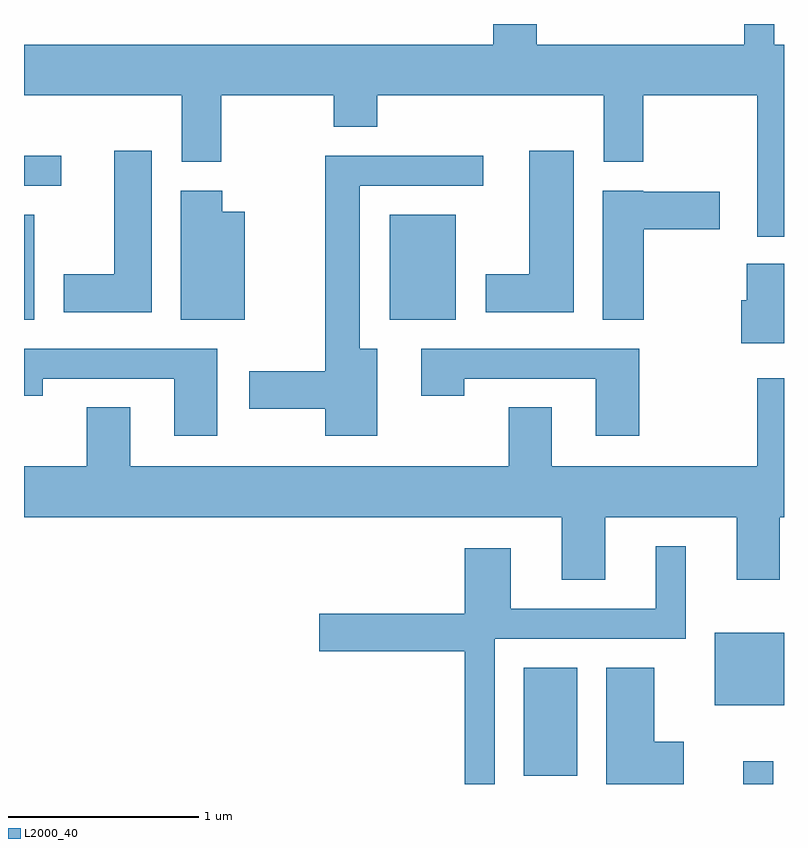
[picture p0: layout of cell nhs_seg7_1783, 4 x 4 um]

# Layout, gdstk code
import gdstk
lib = gdstk.Library(unit=1e-6, precision=1e-09)
def R(c, l, rs):  # rectangles x0, y0, x1, y1
    for r in rs: c.add(gdstk.rectangle(r[:2], r[2:], *l))
def P(c, l, *ps):  # polygons
    for p in ps: c.add(gdstk.Polygon(p, *l))
L2000_40 = (2000, 40)

nhs_seg7_1783 = lib.new_cell('nhs_seg7_1783')
R(nhs_seg7_1783, L2000_40, [(243.396,1706.252,243.554,1706.373), (242.241,1706.296,242.524,1706.864), (243.246,1706.666,243.611,1707.049), (239.611,1708.696,239.664,1709.249), (241.536,1708.696,241.884,1709.249), (239.611,1709.401,239.808,1709.559)])
P(nhs_seg7_1783, L2000_40, [(243.611,1710.144),(243.559,1710.144),(243.559,1710.252),(243.401,1710.252),(243.401,1710.144),(242.309,1710.144),(242.309,1710.252),(242.081,1710.252),(242.081,1710.144),(239.611,1710.144),(239.611,1709.876),(240.441,1709.876),(240.441,1709.526),(240.649,1709.526),(240.649,1709.876),(241.241,1709.876),(241.241,1709.711),(241.469,1709.711),(241.469,1709.876),(242.661,1709.876),(242.661,1709.526),(242.869,1709.526),(242.869,1709.876),(243.471,1709.876),(243.471,1709.133),(243.611,1709.133)],
  [(240.284,1709.584),(240.086,1709.584),(240.086,1708.934),(239.821,1708.934),(239.821,1708.736),(240.284,1708.736)],
  [(242.504,1709.584),(242.271,1709.584),(242.271,1708.934),(242.041,1708.934),(242.041,1708.736),(242.504,1708.736)],
  [(241.469,1708.544),(241.379,1708.544),(241.379,1709.401),(242.028,1709.401),(242.028,1709.559),(241.196,1709.559),(241.196,1708.424),(240.796,1708.424),(240.796,1708.226),(241.196,1708.226),(241.196,1708.086),(241.469,1708.086)],
  [(240.774,1709.264),(240.654,1709.264),(240.654,1709.374),(240.436,1709.374),(240.436,1708.696),(240.774,1708.696)],
  [(242.874,1709.171),(243.274,1709.171),(243.274,1709.369),(242.87,1709.369),(242.87,1709.374),(242.656,1709.374),(242.656,1708.696),(242.874,1708.696)],
  [(243.611,1708.989),(243.416,1708.989),(243.416,1708.799),(243.386,1708.799),(243.386,1708.571),(243.611,1708.571)],
  [(242.849,1708.544),(241.701,1708.544),(241.701,1708.296),(241.929,1708.296),(241.929,1708.386),(242.621,1708.386),(242.621,1708.086),(242.849,1708.086)],
  [(240.629,1708.544),(239.611,1708.544),(239.611,1708.296),(239.709,1708.296),(239.709,1708.386),(240.401,1708.386),(240.401,1708.086),(240.629,1708.086)],
  [(242.669,1707.656),(243.361,1707.656),(243.361,1707.326),(243.589,1707.326),(243.589,1707.656),(243.611,1707.656),(243.611,1708.388),(243.471,1708.388),(243.471,1707.924),(242.389,1707.924),(242.389,1708.234),(242.161,1708.234),(242.161,1707.924),(240.169,1707.924),(240.169,1708.234),(239.941,1708.234),(239.941,1707.924),(239.611,1707.924),(239.611,1707.656),(242.441,1707.656),(242.441,1707.326),(242.669,1707.326)],
  [(242.089,1707.016),(243.094,1707.016),(243.094,1707.503),(242.936,1707.503),(242.936,1707.174),(242.174,1707.174),(242.174,1707.494),(241.931,1707.494),(241.931,1707.149),(241.166,1707.149),(241.166,1706.951),(241.931,1706.951),(241.931,1706.252),(242.089,1706.252)],
  [(243.084,1706.474),(242.929,1706.474),(242.929,1706.864),(242.676,1706.864),(242.676,1706.252),(243.084,1706.252)])

lib.write_gds('nhs_seg7_1783.gds')
